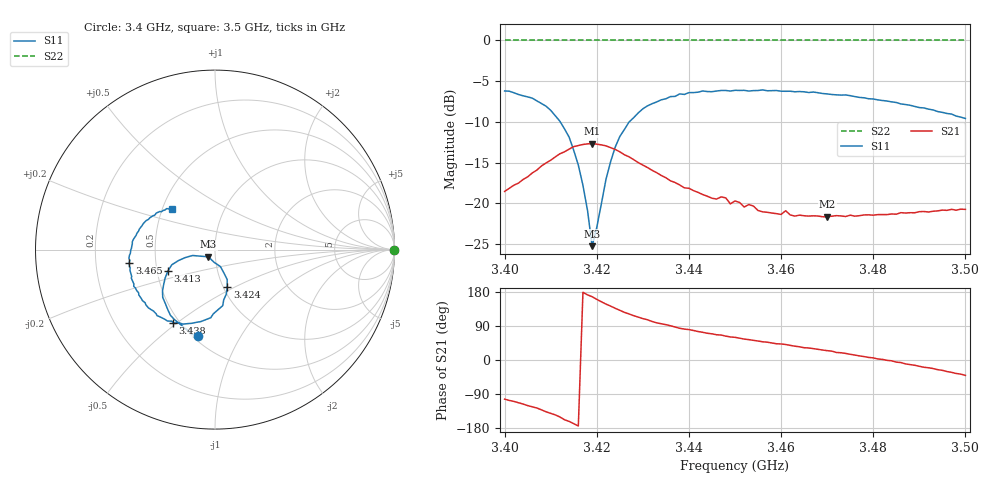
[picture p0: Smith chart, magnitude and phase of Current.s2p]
!Created with skrf (http://scikit-rf.org).
# MHz S RI R 50.0
!freq ReS11 ImS11 ReS21 ImS21 ReS12 ImS12 ReS22 ImS22
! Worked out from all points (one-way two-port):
!   101 points, 3.4 GHz to 3.5 GHz, reference 50 ohm
!   highest |S21| = -12.67 dB at 3.419 GHz (marker M1); lowest = -21.7 dB at 3.47 GHz (marker M2)
!   lowest |S11| = -25.3 dB at 3.419 GHz (marker M3), VSWR 1.12, Z = 46.3 - j3.74 ohm
!   |S11| at or under -10 dB: 3.412074 GHz to 3.42705 GHz (14.98 MHz wide, 0.438 % of centre)
!   |S22| runs from 0.0 to 0.0 dB; largest |S21 - S12| = 0.23
!   S11 on the Smith chart (normalised r, x): 3.4 GHz: 0.53, -0.67; 3.413 GHz: 0.57, -0.15; 3.424 GHz: 1.04, -0.46; 3.438 GHz: 0.46, -0.48; 3.465 GHz: 0.35, -0.07; 3.5 GHz: 0.56, +0.28
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3400  -0.0939 -0.4803  -0.0271 -0.1151  0 0  1 0
3406  -0.2485 -0.3658  -0.0846 -0.128  0 0  1 0
3409  -0.2912 -0.2662  -0.1287 -0.1212  0 0  1 0
3413  -0.2613 -0.1166  -0.1915 -0.0786  0 0  1 0
3415  -0.2023 -0.0604  -0.2178 -0.0466  0 0  1 0
3417  -0.1246 -0.0327  -0.2295 0.00545  0 0  1 0
3418  -0.0824 -0.0365  -0.2292 0.0329  0 0  1 0
3419  -0.0367 -0.0403  -0.2266 0.0525  0 0  1 0
3422  0.0501 -0.1309  -0.19 0.1208  0 0  1 0
3424  0.0681 -0.2103  -0.1552 0.1473  0 0  1 0
3427  0.0432 -0.3123  -0.1009 0.1643  0 0  1 0
3434  -0.1326 -0.411  -0.0146 0.1473  0 0  1 0
3438  -0.2333 -0.4076  0.0143 0.1287  0 0  1 0
3448  -0.3859 -0.3068  0.049 0.096  0 0  1 0
3449  -0.389 -0.2962  0.0483 0.0865  0 0  1 0
3450  -0.404 -0.2843  0.052 0.0893  0 0  1 0
3456  -0.4526 -0.205  0.0592 0.0658  0 0  1 0
3465  -0.478 -0.0738  0.0707 0.0449  0 0  1 0
3467  -0.4796 -0.0487  0.0725 0.0419  0 0  1 0
3470  -0.4695 -0.00291  0.075 0.0344  0 0  1 0
3484  -0.3897 0.1553  0.0858 -0.00326  0 0  1 0
3500  -0.2423 0.2265  0.0695 -0.0597  0 0  1 0
